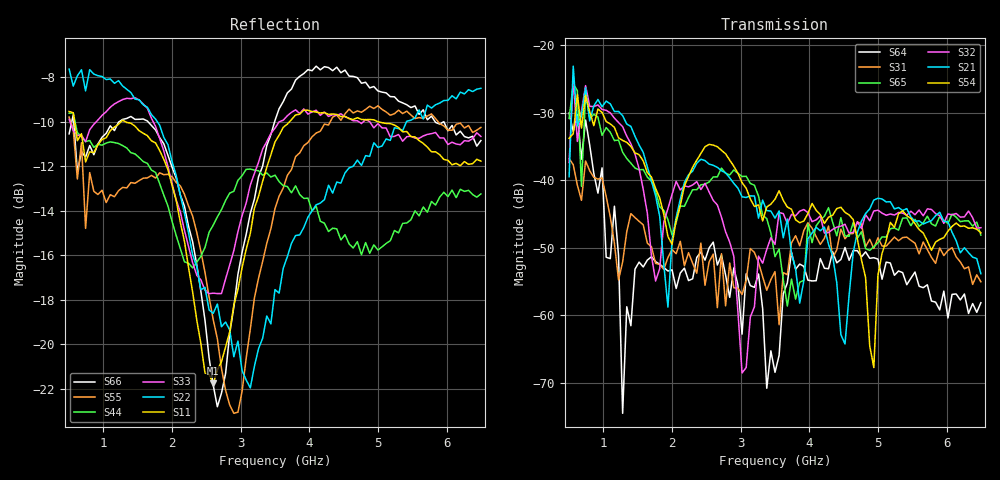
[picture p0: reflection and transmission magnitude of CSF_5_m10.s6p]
!Keysight Technologies,M9804A,MY58100912,A.14.10.03
!Date: Thursday, April 27, 2023 10:28:33
!Correction: S11(C  6-Port  )
!S12(C  6-Port  )
!S13(C  6-Port  )
!S14(C  6-Port  )
!S15(C  6-Port  )
!S16(C  6-Port  )
!S21(C  6-Port  )
!S22(C  6-Port  )
!S23(C  6-Port  )
!S24(C  6-Port  )
!S25(C  6-Port  )
!S26(C  6-Port  )
!S31(C  6-Port  )
!S32(C  6-Port  )
!S33(C  6-Port  )
!S34(C  6-Port  )
!S35(C  6-Port  )
!S36(C  6-Port  )
!S41(C  6-Port  )
!S42(C  6-Port  )
!S43(C  6-Port  )
!S44(C  6-Port  )
!S45(C  6-Port  )
!S46(C  6-Port  )
!S51(C  6-Port  )
!S52(C  6-Port  )
!S53(C  6-Port  )
!S54(C  6-Port  )
!S55(C  6-Port  )
!S56(C  6-Port  )
!S61(C  6-Port  )
!S62(C  6-Port  )
!S63(C  6-Port  )
!S64(C  6-Port  )
!S65(C  6-Port  )
!S66(C  6-Port  )
!S6P File: Measurement: :
# Hz S  RI  R 50
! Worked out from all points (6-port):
!   101 points, 500 MHz to 6.5 GHz, reference 50 ohm
!   strongest paths, dB at 500 MHz, 2 GHz, 3.5 GHz, 5 GHz, 6.5 GHz:
!     S54: -33.8, -49.5, -42.8, -54.1, -47.8
!     S21: -39.5, -48.8, -45.6, -42.7, -53.8
!     S32: -37.3, -42.1, -49.5, -44.4, -47.0
!     S65: -30.8, -48.1, -51.3, -49.3, -48.1
!     S31: -36.8, -50.3, -53.5, -48.5, -55.0
!     S64: -30.0, -53.3, -68.5, -51.7, -58.1
!   lowest |S11| = -21.8 dB at 2.6 GHz (marker M1), VSWR 1.18, Z = 42.7 + j1.98 ohm
!   |S11| at or under -10 dB: 578.9 MHz to 1.259 GHz (680.4 MHz wide, 74 % of centre); 1.317 GHz to 3.714 GHz (2.397 GHz wide, 95.3 % of centre); 4.995 GHz to end of sweep
